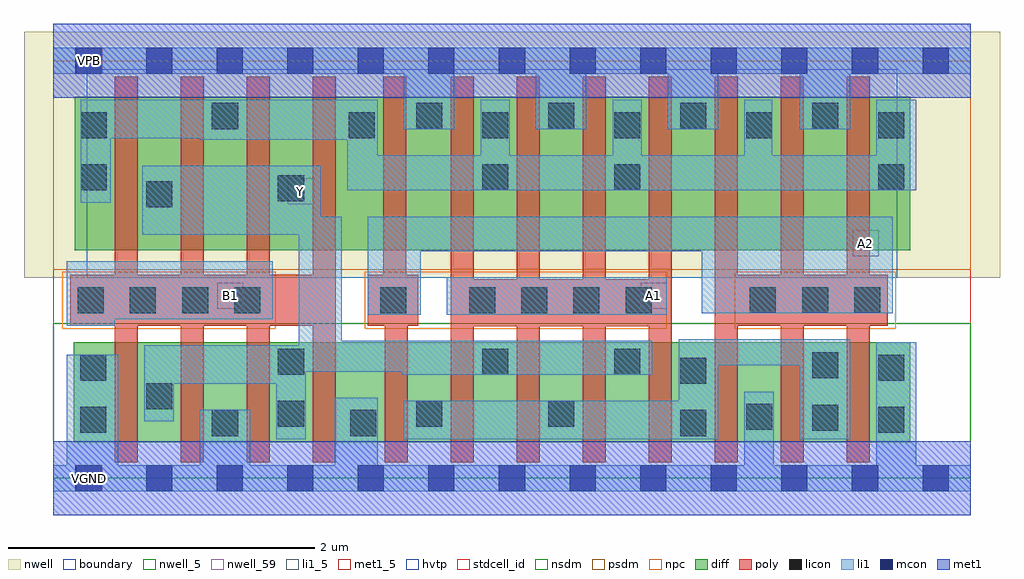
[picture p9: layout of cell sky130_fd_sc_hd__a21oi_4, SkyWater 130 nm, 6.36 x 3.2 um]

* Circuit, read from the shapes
.subckt sky130_fd_sc_hd__a21oi_4 A1 A2 B1 VGND VNB VPB VPWR Y
XM1 Y B1 VGND VNB sky130_fd_pr__nfet_01v8 w=0.65 l=0.15 m=4
XM2 n1 A2 VGND VNB sky130_fd_pr__nfet_01v8 w=0.65 l=0.15 m=4
XM3 Y A1 n1 VNB sky130_fd_pr__nfet_01v8 w=0.65 l=0.15 m=4
XM4 Y B1 n2 VPB sky130_fd_pr__pfet_01v8_hvt w=1 l=0.15 m=4
XM5 VPWR A2 n2 VPB sky130_fd_pr__pfet_01v8_hvt w=1 l=0.15 m=4
XM6 n2 A1 VPWR VPB sky130_fd_pr__pfet_01v8_hvt w=1 l=0.15 m=4
.ends

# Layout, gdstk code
import gdstk
lib = gdstk.Library(unit=1e-6, precision=1e-09)
def R(c, l, rs):  # rectangles x0, y0, x1, y1
    for r in rs: c.add(gdstk.rectangle(r[:2], r[2:], *l))
def A(c, l, x, y, w, h, nx, ny, dx, dy):  # array of equal rectangles
    R(c, l, [(x+i*dx, y+j*dy, x+i*dx+w, y+j*dy+h) for i in range(nx) for j in range(ny)])
nwell_5 = (64, 5)
nwell = (64, 20)
nwell_59 = (64, 59)
diff = (65, 20)
poly = (66, 20)
licon = (66, 44)
li1_5 = (67, 5)
li1 = (67, 20)
mcon = (67, 44)
met1_5 = (68, 5)
met1 = (68, 20)
hvtp = (78, 44)
stdcell_id = (81, 4)
nsdm = (93, 44)
psdm = (94, 20)
npc = (95, 20)
boundary = (235, 4)

sky130_fd_sc_hd__a21oi_4 = lib.new_cell('sky130_fd_sc_hd__a21oi_4')
R(sky130_fd_sc_hd__a21oi_4, nwell_5, [(0.15,2.635,0.32,2.805)])
R(sky130_fd_sc_hd__a21oi_4, nwell, [(-0.19,1.305,6.17,2.91)])
R(sky130_fd_sc_hd__a21oi_4, nwell_59, [(0.15,-0.085,0.32,0.085)])
R(sky130_fd_sc_hd__a21oi_4, diff, [(0.135,0.235,5.585,0.885), (0.14,1.485,5.585,2.485)])
A(sky130_fd_sc_hd__a21oi_4, poly, 0.4, 0.105, 0.15, 0.89, 4, 1, 0.43, 0)
A(sky130_fd_sc_hd__a21oi_4, poly, 2.59, 0.105, 0.15, 0.885, 4, 1, 0.43, 0)
A(sky130_fd_sc_hd__a21oi_4, poly, 4.31, 0.105, 0.15, 0.89, 3, 1, 0.43, 0)
A(sky130_fd_sc_hd__a21oi_4, poly, 2.59, 1.295, 0.15, 1.32, 4, 1, 0.43, 0)
A(sky130_fd_sc_hd__a21oi_4, poly, 0.4, 1.325, 0.15, 1.29, 4, 1, 0.43, 0)
A(sky130_fd_sc_hd__a21oi_4, poly, 4.31, 1.325, 0.15, 1.29, 3, 1, 0.43, 0)
R(sky130_fd_sc_hd__a21oi_4, poly, [(2.16,0.105,2.31,0.995), (2.59,0.99,4.03,1.295), (0.11,0.995,1.84,1.325), (2.05,0.995,2.38,1.325), (4.31,0.995,5.44,1.325), (2.15,1.325,2.3,2.615)])
A(sky130_fd_sc_hd__a21oi_4, licon, 0.16, 1.075, 0.17, 0.17, 4, 1, 0.34, 0)
A(sky130_fd_sc_hd__a21oi_4, licon, 2.71, 1.075, 0.17, 0.17, 4, 1, 0.34, 0)
A(sky130_fd_sc_hd__a21oi_4, licon, 4.54, 1.075, 0.17, 0.17, 3, 1, 0.34, 0)
A(sky130_fd_sc_hd__a21oi_4, licon, 2.795, 2.215, 0.17, 0.17, 4, 1, 0.86, 0)
A(sky130_fd_sc_hd__a21oi_4, licon, 2.365, 2.275, 0.17, 0.17, 4, 1, 0.86, 0)
R(sky130_fd_sc_hd__a21oi_4, licon, [(1.035,0.275,1.205,0.445), (1.935,0.275,2.105,0.445), (4.085,0.275,4.255,0.445), (0.175,0.295,0.345,0.465), (5.375,0.295,5.545,0.465), (4.945,0.31,5.115,0.48), (4.515,0.315,4.685,0.485), (1.465,0.335,1.635,0.505), (2.365,0.335,2.535,0.505), (3.225,0.335,3.395,0.505), (0.605,0.45,0.775,0.62), (4.085,0.615,4.255,0.785), (0.175,0.635,0.345,0.805), (5.375,0.635,5.545,0.805), (4.945,0.65,5.115,0.82), (1.465,0.675,1.635,0.845), (2.795,0.675,2.965,0.845), (3.655,0.675,3.825,0.845), (2.13,1.075,2.3,1.245), (0.605,1.765,0.775,1.935), (1.465,1.805,1.635,1.975), (0.18,1.875,0.35,2.045), (2.795,1.875,2.965,2.045), (3.655,1.875,3.825,2.045), (5.375,1.875,5.545,2.045), (0.18,2.215,0.35,2.385), (1.925,2.215,2.095,2.385), (1.035,2.275,1.205,2.445)])
R(sky130_fd_sc_hd__a21oi_4, li1_5, [(1.07,1.105,1.24,1.275), (3.83,1.105,4,1.275), (5.21,1.445,5.38,1.615), (1.53,1.785,1.7,1.955)])
A(sky130_fd_sc_hd__a21oi_4, li1, 2.285, 2.275, 0.33, 0.36, 4, 1, 0.86, 0)
R(sky130_fd_sc_hd__a21oi_4, li1, [(0,-0.085,5.98,0.085), (0.09,0.085,0.425,0.805), (0.955,0.085,1.285,0.445), (1.835,0.085,2.115,0.525), (4.505,0.085,4.695,0.565), (5.365,0.085,5.625,0.885), (1.455,0.255,1.645,0.615), (2.285,0.255,4.335,0.505), (4.865,0.255,5.195,0.735), (0.595,0.37,0.785,0.615), (4.075,0.505,4.335,0.735), (0.595,0.615,1.645,0.695), (2.275,0.675,3.905,0.695), (0.595,0.695,3.905,0.865), (4.075,0.735,5.195,0.905), (1.6,0.865,3.905,0.895), (1.6,0.895,1.88,1.585), (0.09,0.995,0.4,1.035), (0.09,1.035,1.43,1.415), (2.05,1.065,2.395,1.48), (2.565,1.065,4,1.31), (4.225,1.075,5.47,1.48), (2.05,1.48,5.47,1.705), (0.58,1.585,1.88,1.705), (0.58,1.705,1.745,2.035), (0.18,1.795,0.375,2.215), (1.915,1.875,5.625,2.105), (1.915,2.105,2.115,2.205), (2.785,2.105,2.975,2.465), (3.645,2.105,3.835,2.465), (4.505,2.105,4.685,2.465), (5.365,2.105,5.625,2.465), (0.955,2.205,2.115,2.215), (0.18,2.215,2.115,2.465), (0,2.635,5.98,2.805)])
A(sky130_fd_sc_hd__a21oi_4, mcon, 0.145, -0.085, 0.17, 0.17, 13, 2, 0.46, 2.72)
R(sky130_fd_sc_hd__a21oi_4, met1_5, [(0.15,-0.085,0.32,0.085), (0.15,2.635,0.32,2.805)])
R(sky130_fd_sc_hd__a21oi_4, met1, [(0,-0.24,5.98,0.24), (0,2.48,5.98,2.96)])
R(sky130_fd_sc_hd__a21oi_4, hvtp, [(0.22,1.305,5.5,2.665)])
R(sky130_fd_sc_hd__a21oi_4, stdcell_id, [(0,0,5.98,2.72)])
R(sky130_fd_sc_hd__a21oi_4, nsdm, [(0,0,5.98,1.01)])
R(sky130_fd_sc_hd__a21oi_4, psdm, [(0,1.36,5.98,2.72)])
R(sky130_fd_sc_hd__a21oi_4, npc, [(0.06,0.975,1.45,1.345), (2.03,0.975,4,1.345), (4.44,0.975,5.49,1.345)])
R(sky130_fd_sc_hd__a21oi_4, boundary, [(0,0,5.98,2.72)])
sky130_fd_sc_hd__a21oi_4.add(gdstk.Label('A1', (3.915,1.19), layer=67, texttype=5))
sky130_fd_sc_hd__a21oi_4.add(gdstk.Label('A2', (5.295,1.53), layer=67, texttype=5))
sky130_fd_sc_hd__a21oi_4.add(gdstk.Label('B1', (1.155,1.19), layer=67, texttype=5))
sky130_fd_sc_hd__a21oi_4.add(gdstk.Label('VGND', (0.235,0), layer=68, texttype=5))
sky130_fd_sc_hd__a21oi_4.add(gdstk.Label('VNB', (0.235,0), layer=64, texttype=59))
sky130_fd_sc_hd__a21oi_4.add(gdstk.Label('VPB', (0.235,2.72), layer=64, texttype=5))
sky130_fd_sc_hd__a21oi_4.add(gdstk.Label('VPWR', (0.235,2.72), layer=68, texttype=5))
sky130_fd_sc_hd__a21oi_4.add(gdstk.Label('Y', (1.615,1.87), layer=67, texttype=5))

lib.write_gds('sky130_fd_sc_hd__a21oi_4.gds')
